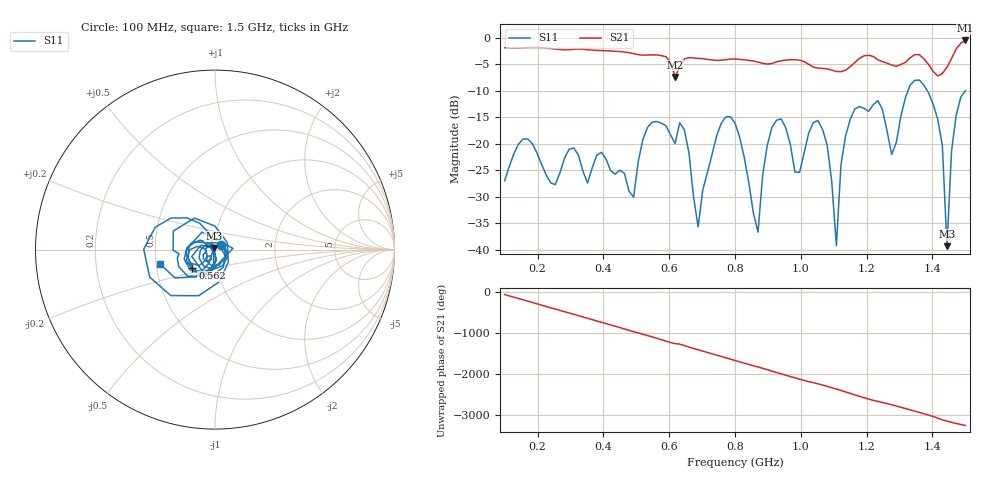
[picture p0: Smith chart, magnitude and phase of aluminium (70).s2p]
! NanoVNA-App
! Date: 2025-09-25 14:55:49
! Start: 100MHz Stop: 1,5GHz Points: 101
! S-Parameter data: F S11 S21 S12 S22
# Hz S RI R 50
!  Frequency  S11_Real  S11_Imag  S21_Real  S21_Imag  S12_Real  S12_Imag  S22_Real  S22_Imag
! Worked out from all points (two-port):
!   101 points, 100 MHz to 1.5 GHz, reference 50 ohm
!   highest |S21| = -0.55 dB at 1.5 GHz (marker M1); lowest = -7.4 dB at 618 MHz (marker M2)
!   |S21| within 3 dB of the highest: start of sweep to 586.1 MHz; 1.461 GHz to end of sweep (the widest 2 of 4)
!   lowest |S11| = -39.3 dB at 1.444 GHz (marker M3), VSWR 1.02, Z = 49.3 + j0.828 ohm
!   |S11| at or under -10 dB: start of sweep to 1.326 GHz; 1.384 GHz to end of sweep
!   S12 and S22 are empty: the file has one direction only
!   S11 on the Smith chart (normalised r, x): 100 MHz: 1.07, +0.06; 562 MHz: 0.76, -0.16; 1.5 GHz: 0.53, -0.09
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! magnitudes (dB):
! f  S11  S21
! 100 MHz  -27.0  -1.9
! 338 MHz  -25.2  -2.2
! 492 MHz  -30.1  -3.0
! 562 MHz  -15.8  -3.3
! 576 MHz  -16.1  -3.4
! 618 MHz  -20.0  -7.4
! 646 MHz  -17.4  -4.0
! 688 MHz  -35.7  -3.9
! 800 MHz  -16.1  -4.0
! 870 MHz  -36.7  -4.6
! 912 MHz  -17.0  -4.9
! 996 MHz  -25.4  -4.3
! 1.038 GHz  -16.0  -5.6
! 1.08 GHz  -20.3  -5.9
! 1.108 GHz  -39.2  -6.4
! 1.164 GHz  -13.5  -4.7
! 1.276 GHz  -22.0  -5.2
! 1.388 GHz  -10.4  -5.1
! 1.43 GHz  -20.4  -6.8
! 1.444 GHz  -39.3  -5.6
! 1.458 GHz  -21.3  -4.0
! 1.5 GHz  -10.0  -0.6
